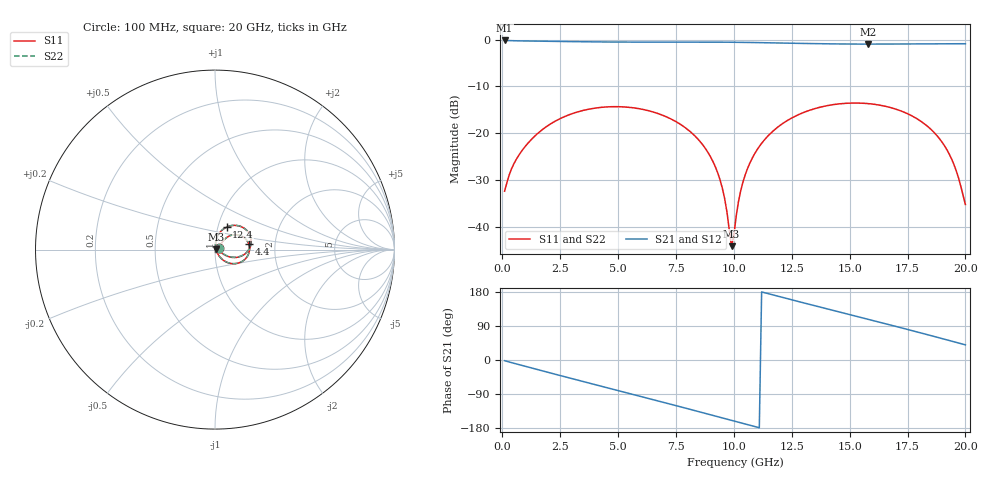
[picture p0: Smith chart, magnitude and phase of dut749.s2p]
! Touchstone file exported from HFSS 2026.1.0
!  File:  C:/ffzhzh/LocalFiles/Ansys_Project_Files/temp_train_TSV_RDL_749_1783205668_43440.aedt
!  Generated:  07:03:40 AM Jul  5, 2026
!  Design:  TSV_RDL
!  Project:  temp_train_TSV_RDL_749_1783205668_43440
! Variables:
!  h_bsmrdl = 2.77um
!  h_ox = 20um
!  h_rdl = 5um
!  h_sub = 70.47um
!  h_tmrdl = 3.54um
!  h_tsv = 70.47um
!  h_via = 3um
!  l_bsmrdl = 358.65um
!  l_sub = 5430.26um
!  l_tmrdl = 950.26um
!  m_sub = 200um
!  pitch = 34.04um
!  r_tsv = 11.86um
!  s_tmrdl = 10um
!  w_bsmrdl = 27.5um
!  w_sub = 500um
!  w_tmrdl = 23.59um
!  x_tsv_center1 = 962.055um
!  x_tsv_center2 = 1348.205um
!  x_tsv_center3 = 2322.055um
!  x_tsv_center4 = 2708.205um
!  x_tsv_center5 = 3682.055um
!  x_tsv_center6 = 4068.205um
# GHz S MA R 50.000000
! Terminal data exported
! Port[1] = TM_RDL1_1_T1
! Port[2] = TM_RDL5_1_T1
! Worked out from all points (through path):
!   200 points, 100 MHz to 20 GHz, reference 50 ohm
!   highest |S21| = -0.20 dB at 100 MHz (marker M1); lowest = -1.0 dB at 15.8 GHz (marker M2)
!   group delay of S21, straight-line fit = 44.3 ps
!   lowest |S11| = -44.0 dB at 9.9 GHz (marker M3), VSWR 1.01, Z = 50.6 + j0.0615 ohm
!   |S11| at or under -10 dB: start of sweep to end of sweep
!   |S22| runs from -44.0 to -13.5 dB; largest |S21 - S12| = 1.7e-14
!   S11 on the Smith chart (normalised r, x): 100 MHz: 1.05, +0.02; 4.4 GHz: 1.46, +0.09; 12.4 GHz: 1.10, +0.28; 20 GHz: 1.04, +0.01
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0.1  0.02423 20.9  0.9776 -1.8  0.9776 -1.8  0.02423 20.9
! Gamma 0 0 0 0
! Port Impedance 50 0 50 0
0.5  0.04738 43.3  0.9701 -8.6  0.9701 -8.6  0.04738 43.3
1.3  0.08839 46.4  0.9632 -21.6  0.9632 -21.6  0.08839 46.4
3.5  0.1757 22.2  0.9466 -57.0  0.9466 -57.0  0.1757 22.2
4.4  0.1905 9.4  0.9418 -71.2  0.9418 -71.2  0.1905 9.5
6.8  0.1602 -25.8  0.9391 -109.1  0.9391 -109.1  0.1602 -25.7
8.1  0.1052 -44.6  0.9402 -130.0  0.9402 -130.0  0.1052 -44.6
9  0.05585 -55.7  0.9393 -144.6  0.9393 -144.6  0.05584 -55.6
9.5  0.02627 -56.2  0.9378 -152.8  0.9378 -152.8  0.02627 -56.1
9.9  0.00628 5.5  0.9359 -159.3  0.9359 -159.3  0.006281 5.6
10.1  0.01306 72.3  0.9347 -162.5  0.9347 -162.5  0.01306 72.4
10.4  0.03067 84.3  0.9328 -167.4  0.9328 -167.4  0.03066 84.4
10.8  0.05477 83.2  0.9297 -173.9  0.9297 -173.9  0.05476 83.4
11.5  0.09531 75.2  0.9234 174.8  0.9234 174.8  0.0953 75.3
12.4  0.1413 62.6  0.9144 160.4  0.9144 160.4  0.1413 62.8
13.4  0.1805 48.1  0.9049 144.7  0.9049 144.7  0.1805 48.3
15.8  0.2075 13.5  0.8941 107.4  0.8941 107.4  0.2075 13.8
16.7  0.1902 0.6  0.8954 93.4  0.8954 93.4  0.1902 1.0
18  0.1386 -17.3  0.9 72.7  0.9 72.7  0.1386 -16.7
18.9  0.08656 -27.3  0.9025 58.1  0.9025 58.1  0.08666 -26.3
19.5  0.04694 -27.6  0.9027 48.2  0.9027 48.2  0.04729 -25.8
20  0.01744 8.2  0.9016 40.0  0.9016 40.0  0.01873 10.9
